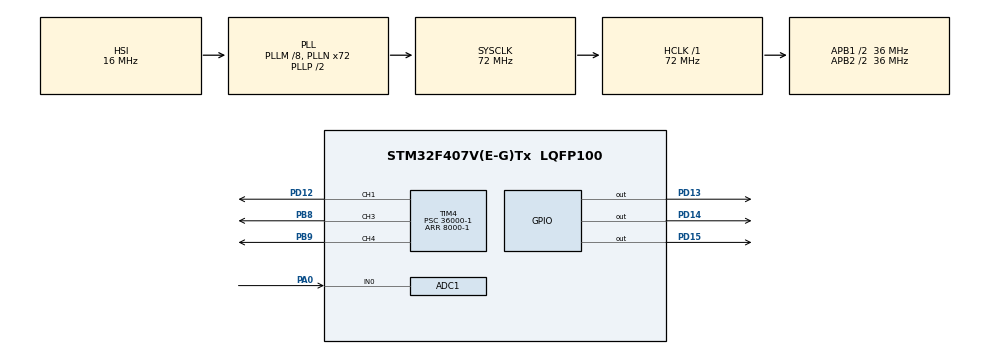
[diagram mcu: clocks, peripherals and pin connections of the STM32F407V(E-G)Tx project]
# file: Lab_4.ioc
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ADC1.Channel-1\#ChannelRegularConversion=ADC_CHANNEL_0
ADC1.NbrOfConversionFlag=1
ADC1.Rank-1\#ChannelRegularConversion=1
ADC1.SamplingTime-1\#ChannelRegularConversion=ADC_SAMPLETIME_3CYCLES
ADC1.master=1
Mcu.Family=STM32F4
Mcu.Name=STM32F407V(E-G)Tx
Mcu.Package=LQFP100
NVIC.ADC_IRQn=true\:0\:0\:false\:true\:true\:3\:true\:true\:true
NVIC.PriorityGroup=NVIC_PRIORITYGROUP_1
NVIC.TIM2_IRQn=true\:0\:0\:false\:true\:true\:2\:true\:true\:true
NVIC.TIM4_IRQn=true\:1\:1\:true\:true\:true\:1\:true\:true\:true
PA0-WKUP.Signal=ADCx_IN0
PB8.Signal=S_TIM4_CH3
PB9.Signal=S_TIM4_CH4
PD12.Signal=S_TIM4_CH1
PD13.Signal=GPIO_Output
PD14.Signal=GPIO_Output
PD15.Signal=GPIO_Output
ProjectManager.HeapSize=0x200
ProjectManager.StackSize=0x400
ProjectManager.TargetToolchain=STM32CubeIDE
RCC.48MHZClocksFreq_Value=20571428.57142857
RCC.AHBFreq_Value=72000000
RCC.APB1CLKDivider=RCC_HCLK_DIV2
RCC.APB1Freq_Value=36000000
RCC.APB1TimFreq_Value=72000000
RCC.APB2CLKDivider=RCC_HCLK_DIV2
RCC.APB2Freq_Value=36000000
RCC.APB2TimFreq_Value=72000000
RCC.CortexFreq_Value=72000000
RCC.HCLKFreq_Value=72000000
RCC.HSE_VALUE=8000000
RCC.HSI_VALUE=16000000
RCC.LSE_VALUE=32768
RCC.PLLM=8
RCC.PLLN=72
RCC.PLLQ=7
RCC.SYSCLKFreq_VALUE=72000000
RCC.SYSCLKSource=RCC_SYSCLKSOURCE_PLLCLK
RCC.VCOOutputFreq_Value=144000000
SH.ADCx_IN0.0=ADC1_IN0,IN0
SH.S_TIM4_CH1.0=TIM4_CH1,PWM Generation1 CH1
SH.S_TIM4_CH3.0=TIM4_CH3,PWM Generation3 CH3
SH.S_TIM4_CH4.0=TIM4_CH4,PWM Generation4 CH4
TIM2.Channel-Input_Capture1_from_TI1=TIM_CHANNEL_1
TIM2.Period=2000
TIM2.Prescaler=36000-1
TIM4.Channel-PWM\ Generation1\ CH1=TIM_CHANNEL_1
TIM4.Channel-PWM\ Generation3\ CH3=TIM_CHANNEL_3
TIM4.Channel-PWM\ Generation4\ CH4=TIM_CHANNEL_4
TIM4.OCPolarity_4=TIM_OCPOLARITY_LOW
TIM4.Period=8000-1
TIM4.Prescaler=36000-1
TIM4.Pulse-PWM\ Generation1\ CH1=4000-1
TIM4.Pulse-PWM\ Generation3\ CH3=4000
TIM4.Pulse-PWM\ Generation4\ CH4=2000
VP_TIM2_VS_ClockSourceINT.Mode=Internal
VP_TIM4_VS_ClockSourceINT.Mode=Internal
board=STM32F407G-DISC1

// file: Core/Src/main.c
/* USER CODE BEGIN Header */
/**
  ****************************************************************************
  * @file           : main.c
  * @brief          : Main program body
  ****************************************************************************
  * @attention
  *
  * Copyright (c) 2024 STMicroelectronics.
  * All rights reserved.
  *
  * This software is licensed under terms that can be found in the LICENSE file
  * in the root directory of this software component.
  * If no LICENSE file comes with this software, it is provided AS-IS.
  *
  ****************************************************************************
  */
/* USER CODE END Header */
#include "main.h"

ADC_HandleTypeDef hadc1;

TIM_HandleTypeDef htim2;
TIM_HandleTypeDef htim4;

/* USER CODE BEGIN PV */
uint16_t inputCaptureVal;
uint32_t Value;
/* USER CODE END PV */

void SystemClock_Config(void);
static void MX_GPIO_Init(void);
static void MX_TIM4_Init(void);
static void MX_TIM2_Init(void);
static void MX_ADC1_Init(void);
static void MX_NVIC_Init(void);

int main(void)
{

  /* MCU Configuration--------------------------------------------------------*/

  /* Reset of all peripherals, Initializes the Flash interface and the Systick. */
  HAL_Init();

  /* Configure the system clock */
  SystemClock_Config();

  /* Initialize all configured peripherals */
  MX_GPIO_Init();
  MX_TIM4_Init();
  MX_TIM2_Init();
  MX_ADC1_Init();

  /* Initialize interrupts */
  MX_NVIC_Init();
  /* USER CODE BEGIN 2 */
  HAL_TIM_Base_Start_IT(&htim2); //neatrodo, kad sitas reikalingas
  HAL_TIM_PWM_Start(&htim4, TIM_CHANNEL_1);
//  HAL_TIM_PWM_Start(&htim4, TIM_CHANNEL_3);
//  HAL_TIM_PWM_Start(&htim4, TIM_CHANNEL_4);
  HAL_TIM_IC_Start_IT(&htim2, TIM_CHANNEL_1);
  //HAL_TIM_IC_CaptureCallback(&htim2);
  /* USER CODE END 2 */

  /* Infinite loop */
  while (1)
  {

  }
}

void SystemClock_Config(void)
{
  RCC_OscInitTypeDef RCC_OscInitStruct = {0};
  RCC_ClkInitTypeDef RCC_ClkInitStruct = {0};

  /** Configure the main internal regulator output voltage
  */
  __HAL_RCC_PWR_CLK_ENABLE();
  __HAL_PWR_VOLTAGESCALING_CONFIG(PWR_REGULATOR_VOLTAGE_SCALE1);

  /** Initializes the RCC Oscillators according to the specified parameters
  * in the RCC_OscInitTypeDef structure.
  */
  RCC_OscInitStruct.OscillatorType = RCC_OSCILLATORTYPE_HSI;
  RCC_OscInitStruct.HSIState = RCC_HSI_ON;
  RCC_OscInitStruct.HSICalibrationValue = RCC_HSICALIBRATION_DEFAULT;
  RCC_OscInitStruct.PLL.PLLState = RCC_PLL_ON;
  RCC_OscInitStruct.PLL.PLLSource = RCC_PLLSOURCE_HSI;
  RCC_OscInitStruct.PLL.PLLM = 8;
  RCC_OscInitStruct.PLL.PLLN = 72;
  RCC_OscInitStruct.PLL.PLLP = RCC_PLLP_DIV2;
  RCC_OscInitStruct.PLL.PLLQ = 7;
  if (HAL_RCC_OscConfig(&RCC_OscInitStruct) != HAL_OK)
  {
    Error_Handler();
  }

  /** Initializes the CPU, AHB and APB buses clocks
  */
  RCC_ClkInitStruct.ClockType = RCC_CLOCKTYPE_HCLK|RCC_CLOCKTYPE_SYSCLK
                              |RCC_CLOCKTYPE_PCLK1|RCC_CLOCKTYPE_PCLK2;
  RCC_ClkInitStruct.SYSCLKSource = RCC_SYSCLKSOURCE_PLLCLK;
  RCC_ClkInitStruct.AHBCLKDivider = RCC_SYSCLK_DIV1;
  RCC_ClkInitStruct.APB1CLKDivider = RCC_HCLK_DIV2;
  RCC_ClkInitStruct.APB2CLKDivider = RCC_HCLK_DIV2;

  if (HAL_RCC_ClockConfig(&RCC_ClkInitStruct, FLASH_LATENCY_2) != HAL_OK)
  {
    Error_Handler();
  }
}

/**
  * @brief NVIC Configuration.
  * @retval None
  */
static void MX_NVIC_Init(void)
{
  /* TIM4_IRQn interrupt configuration */
  HAL_NVIC_SetPriority(TIM4_IRQn, 1, 1);
  HAL_NVIC_EnableIRQ(TIM4_IRQn);
  /* TIM2_IRQn interrupt configuration */
  HAL_NVIC_SetPriority(TIM2_IRQn, 0, 0);
  HAL_NVIC_EnableIRQ(TIM2_IRQn);
  /* ADC_IRQn interrupt configuration */
  HAL_NVIC_SetPriority(ADC_IRQn, 0, 0);
  HAL_NVIC_EnableIRQ(ADC_IRQn);
}

static void MX_ADC1_Init(void)
{

  ADC_ChannelConfTypeDef sConfig = {0};

  /** Configure the global features of the ADC (Clock, Resolution, Data Alignment and number of conversion)
  */
  hadc1.Instance = ADC1;
  hadc1.Init.ClockPrescaler = ADC_CLOCK_SYNC_PCLK_DIV2;
  hadc1.Init.Resolution = ADC_RESOLUTION_12B;
  hadc1.Init.ScanConvMode = DISABLE;
  hadc1.Init.ContinuousConvMode = DISABLE;
  hadc1.Init.DiscontinuousConvMode = DISABLE;
  hadc1.Init.ExternalTrigConvEdge = ADC_EXTERNALTRIGCONVEDGE_NONE;
  hadc1.Init.ExternalTrigConv = ADC_SOFTWARE_START;
  hadc1.Init.DataAlign = ADC_DATAALIGN_RIGHT;
  hadc1.Init.NbrOfConversion = 1;
  hadc1.Init.DMAContinuousRequests = DISABLE;
  hadc1.Init.EOCSelection = ADC_EOC_SINGLE_CONV;
  if (HAL_ADC_Init(&hadc1) != HAL_OK)
  {
    Error_Handler();
  }

  /** Configure for the selected ADC regular channel its corresponding rank in the sequencer and its sample time.
  */
  sConfig.Channel = ADC_CHANNEL_0;
  sConfig.Rank = 1;
  sConfig.SamplingTime = ADC_SAMPLETIME_3CYCLES;
  if (HAL_ADC_ConfigChannel(&hadc1, &sConfig) != HAL_OK)
  {
    Error_Handler();
  }

}

static void MX_TIM2_Init(void)
{

  TIM_ClockConfigTypeDef sClockSourceConfig = {0};
  TIM_MasterConfigTypeDef sMasterConfig = {0};

  htim2.Instance = TIM2;
  htim2.Init.Prescaler = 36000-1;
  htim2.Init.CounterMode = TIM_COUNTERMODE_UP;
  htim2.Init.Period = 2000;
  htim2.Init.ClockDivision = TIM_CLOCKDIVISION_DIV1;
  htim2.Init.AutoReloadPreload = TIM_AUTORELOAD_PRELOAD_DISABLE;
  if (HAL_TIM_Base_Init(&htim2) != HAL_OK)
  {
    Error_Handler();
  }
  sClockSourceConfig.ClockSource = TIM_CLOCKSOURCE_INTERNAL;
  if (HAL_TIM_ConfigClockSource(&htim2, &sClockSourceConfig) != HAL_OK)
  {
    Error_Handler();
  }
  sMasterConfig.MasterOutputTrigger = TIM_TRGO_RESET;
  sMasterConfig.MasterSlaveMode = TIM_MASTERSLAVEMODE_DISABLE;
  if (HAL_TIMEx_MasterConfigSynchronization(&htim2, &sMasterConfig) != HAL_OK)
  {
    Error_Handler();
  }

}

static void MX_TIM4_Init(void)
{

  TIM_ClockConfigTypeDef sClockSourceConfig = {0};
  TIM_MasterConfigTypeDef sMasterConfig = {0};
  TIM_OC_InitTypeDef sConfigOC = {0};

  htim4.Instance = TIM4;
  htim4.Init.Prescaler = 36000-1;
  htim4.Init.CounterMode = TIM_COUNTERMODE_UP;
  htim4.Init.Period = 8000-1;
  htim4.Init.ClockDivision = TIM_CLOCKDIVISION_DIV1;
  htim4.Init.AutoReloadPreload = TIM_AUTORELOAD_PRELOAD_DISABLE;
  if (HAL_TIM_Base_Init(&htim4) != HAL_OK)
  {
    Error_Handler();
  }
  sClockSourceConfig.ClockSource = TIM_CLOCKSOURCE_INTERNAL;
  if (HAL_TIM_ConfigClockSource(&htim4, &sClockSourceConfig) != HAL_OK)
  {
    Error_Handler();
  }
  if (HAL_TIM_PWM_Init(&htim4) != HAL_OK)
  {
    Error_Handler();
  }
  sMasterConfig.MasterOutputTrigger = TIM_TRGO_RESET;
  sMasterConfig.MasterSlaveMode = TIM_MASTERSLAVEMODE_DISABLE;
  if (HAL_TIMEx_MasterConfigSynchronization(&htim4, &sMasterConfig) != HAL_OK)
  {
    Error_Handler();
  }
  sConfigOC.OCMode = TIM_OCMODE_PWM1;
  sConfigOC.Pulse = 4000-1;
  sConfigOC.OCPolarity = TIM_OCPOLARITY_HIGH;
  sConfigOC.OCFastMode = TIM_OCFAST_DISABLE;
  if (HAL_TIM_PWM_ConfigChannel(&htim4, &sConfigOC, TIM_CHANNEL_1) != HAL_OK)
  {
    Error_Handler();
  }
  sConfigOC.Pulse = 4000;
  if (HAL_TIM_PWM_ConfigChannel(&htim4, &sConfigOC, TIM_CHANNEL_3) != HAL_OK)
  {
    Error_Handler();
  }
  sConfigOC.Pulse = 2000;
  sConfigOC.OCPolarity = TIM_OCPOLARITY_LOW;
  if (HAL_TIM_PWM_ConfigChannel(&htim4, &sConfigOC, TIM_CHANNEL_4) != HAL_OK)
  {
    Error_Handler();
  }
  HAL_TIM_MspPostInit(&htim4);

}

static void MX_GPIO_Init(void)
{
  GPIO_InitTypeDef GPIO_InitStruct = {0};

  /* GPIO Ports Clock Enable */
  __HAL_RCC_GPIOA_CLK_ENABLE();
  __HAL_RCC_GPIOD_CLK_ENABLE();
  __HAL_RCC_GPIOB_CLK_ENABLE();

  /*Configure GPIO pin Output Level */
  HAL_GPIO_WritePin(GPIOD, GPIO_PIN_13|GPIO_PIN_14|GPIO_PIN_15, GPIO_PIN_RESET);

  /*Configure GPIO pins : PD13 PD14 PD15 */
  GPIO_InitStruct.Pin = GPIO_PIN_13|GPIO_PIN_14|GPIO_PIN_15;
  GPIO_InitStruct.Mode = GPIO_MODE_OUTPUT_PP;
  GPIO_InitStruct.Pull = GPIO_NOPULL;
  GPIO_InitStruct.Speed = GPIO_SPEED_FREQ_LOW;
  HAL_GPIO_Init(GPIOD, &GPIO_InitStruct);

}

/* USER CODE BEGIN 4 */
void HAL_TIM_IC_CaptureCallback(TIM_HandleTypeDef *htim)
{
  /* Prevent unused argument(s) compilation warning */
  UNUSED(htim);
  if(htim->Instance == TIM2){
	  inputCaptureVal= __HAL_TIM_GET_COUNTER(htim);
	  __HAL_TIM_SetCounter(htim,0);
	  if(inputCaptureVal < 2000){
		  HAL_GPIO_WritePin(GPIOD, GPIO_PIN_15, SET);
		  HAL_GPIO_WritePin(GPIOD, GPIO_PIN_14, RESET);
		  HAL_GPIO_WritePin(GPIOD, GPIO_PIN_13, RESET);
	  }
	  if((inputCaptureVal >= 2000) && (inputCaptureVal < 6000)){
		  HAL_GPIO_WritePin(GPIOD, GPIO_PIN_15, SET);
		  HAL_GPIO_WritePin(GPIOD, GPIO_PIN_14, SET);
		  HAL_GPIO_WritePin(GPIOD, GPIO_PIN_13, RESET);
	  }
	  if(inputCaptureVal >=6000){
		  HAL_GPIO_WritePin(GPIOD, GPIO_PIN_15, SET);
		  HAL_GPIO_WritePin(GPIOD, GPIO_PIN_14, SET);
		  HAL_GPIO_WritePin(GPIOD, GPIO_PIN_13, SET);
	  }
	  inputCaptureVal = 0;
  }
  /* NOTE : This function should not be modified, when the callback is needed,
            the HAL_TIM_IC_CaptureCallback could be implemented in the user file
   */
}
/* USER CODE END 4 */

void Error_Handler(void)
{
  __disable_irq();
  while (1)
  {
  }
}
